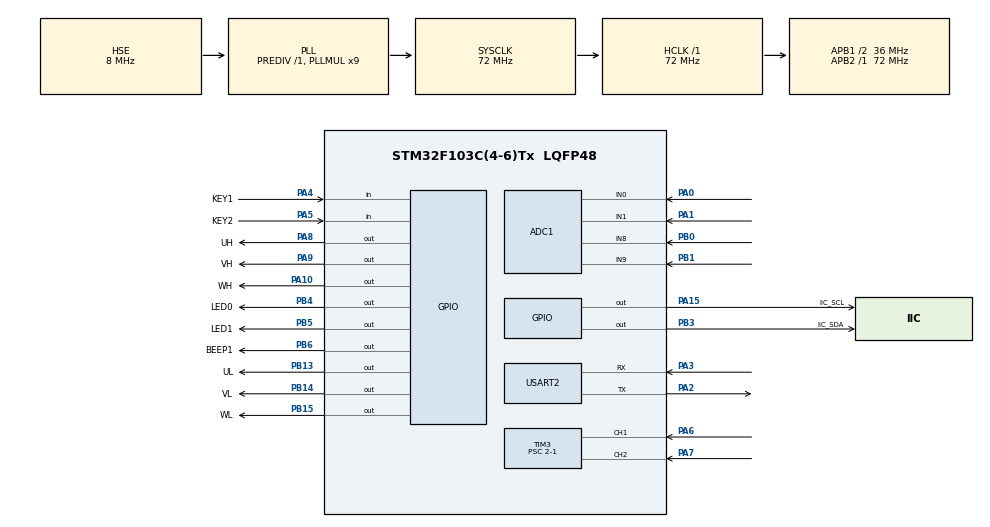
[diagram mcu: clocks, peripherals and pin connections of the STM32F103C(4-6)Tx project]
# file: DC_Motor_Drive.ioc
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ADC1.Channel-0\#ChannelRegularConversion=ADC_CHANNEL_0
ADC1.Channel-1\#ChannelRegularConversion=ADC_CHANNEL_1
ADC1.Channel-2\#ChannelRegularConversion=ADC_CHANNEL_8
ADC1.Channel-3\#ChannelRegularConversion=ADC_CHANNEL_9
ADC1.DataAlign=ADC_DATAALIGN_RIGHT
ADC1.DiscontinuousConvMode=ENABLE
ADC1.NbrOfConversion=4
ADC1.NbrOfConversionFlag=1
ADC1.Rank-0\#ChannelRegularConversion=1
ADC1.Rank-1\#ChannelRegularConversion=2
ADC1.Rank-2\#ChannelRegularConversion=3
ADC1.Rank-3\#ChannelRegularConversion=4
ADC1.SamplingTime-0\#ChannelRegularConversion=ADC_SAMPLETIME_1CYCLE_5
ADC1.SamplingTime-1\#ChannelRegularConversion=ADC_SAMPLETIME_1CYCLE_5
ADC1.SamplingTime-2\#ChannelRegularConversion=ADC_SAMPLETIME_1CYCLE_5
ADC1.SamplingTime-3\#ChannelRegularConversion=ADC_SAMPLETIME_1CYCLE_5
ADC1.master=1
IWDG.Prescaler=IWDG_PRESCALER_64
Mcu.Family=STM32F1
Mcu.Name=STM32F103C(4-6)Tx
Mcu.Package=LQFP48
NVIC.PriorityGroup=NVIC_PRIORITYGROUP_4
NVIC.TIM2_IRQn=true\:0\:0\:false\:false\:true\:true\:true\:true
NVIC.TIM3_IRQn=true\:5\:0\:true\:false\:true\:true\:true\:true
NVIC.USART2_IRQn=true\:4\:0\:true\:false\:true\:true\:true\:true
PA0-WKUP.Signal=ADCx_IN0
PA1.Signal=ADCx_IN1
PA10.GPIO_Label=WH
PA10.PinState=GPIO_PIN_SET
PA10.Signal=GPIO_Output
PA13.Mode=Serial_Wire
PA13.Signal=SYS_JTMS-SWDIO
PA14.Mode=Serial_Wire
PA14.Signal=SYS_JTCK-SWCLK
PA15.GPIO_Label=IIC_SCL
PA15.PinState=GPIO_PIN_SET
PA15.Signal=GPIO_Output
PA2.Mode=Asynchronous
PA2.Signal=USART2_TX
PA3.Mode=Asynchronous
PA3.Signal=USART2_RX
PA4.GPIO_Label=KEY1
PA4.GPIO_PuPd=GPIO_NOPULL
PA4.Signal=GPIO_Input
PA5.GPIO_Label=KEY2
PA5.GPIO_PuPd=GPIO_NOPULL
PA5.Signal=GPIO_Input
PA6.Signal=S_TIM3_CH1
PA7.Signal=S_TIM3_CH2
PA8.GPIO_Label=UH
PA8.PinState=GPIO_PIN_SET
PA8.Signal=GPIO_Output
PA9.GPIO_Label=VH
PA9.PinState=GPIO_PIN_SET
PA9.Signal=GPIO_Output
PB0.Signal=ADCx_IN8
PB1.Signal=ADCx_IN9
PB13.GPIO_Label=UL
PB13.PinState=GPIO_PIN_SET
PB13.Signal=GPIO_Output
PB14.GPIO_Label=VL
PB14.PinState=GPIO_PIN_SET
PB14.Signal=GPIO_Output
PB15.GPIO_Label=WL
PB15.PinState=GPIO_PIN_SET
PB15.Signal=GPIO_Output
PB3.GPIO_Label=IIC_SDA
PB3.PinState=GPIO_PIN_SET
PB3.Signal=GPIO_Output
PB4.GPIO_Label=LED0
PB4.PinState=GPIO_PIN_SET
PB4.Signal=GPIO_Output
PB5.GPIO_Label=LED1
PB5.PinState=GPIO_PIN_SET
PB5.Signal=GPIO_Output
PB6.GPIO_Label=BEEP1
PB6.PinState=GPIO_PIN_SET
PB6.Signal=GPIO_Output
PD0-OSC_IN.Mode=HSE-External-Oscillator
PD0-OSC_IN.Signal=RCC_OSC_IN
PD1-OSC_OUT.Mode=HSE-External-Oscillator
PD1-OSC_OUT.Signal=RCC_OSC_OUT
ProjectManager.HeapSize=0x200
ProjectManager.StackSize=0x400
ProjectManager.TargetToolchain=MDK-ARM V5.32
RCC.ADCPresc=RCC_ADCPCLK2_DIV6
RCC.AHBFreq_Value=72000000
RCC.APB1CLKDivider=RCC_HCLK_DIV2
RCC.APB1Freq_Value=36000000
RCC.APB1TimFreq_Value=72000000
RCC.APB2Freq_Value=72000000
RCC.APB2TimFreq_Value=72000000
RCC.HCLKFreq_Value=72000000
RCC.PLLMUL=RCC_PLL_MUL9
RCC.PLLSourceVirtual=RCC_PLLSOURCE_HSE
RCC.SYSCLKFreq_VALUE=72000000
RCC.SYSCLKSource=RCC_SYSCLKSOURCE_PLLCLK
RCC.USBFreq_Value=72000000
SH.ADCx_IN0.0=ADC1_IN0,IN0
SH.ADCx_IN1.0=ADC1_IN1,IN1
SH.ADCx_IN8.0=ADC1_IN8,IN8
SH.ADCx_IN9.0=ADC1_IN9,IN9
SH.S_TIM3_CH1.0=TIM3_CH1,Encoder_Interface
SH.S_TIM3_CH2.0=TIM3_CH2,Encoder_Interface
TIM1.AutoReloadPreload=TIM_AUTORELOAD_PRELOAD_ENABLE
TIM1.Period=69
TIM1.Prescaler=63
TIM2.AutoReloadPreload=TIM_AUTORELOAD_PRELOAD_ENABLE
TIM2.Period=1000-1
TIM2.Prescaler=72-1
TIM3.AutoReloadPreload=TIM_AUTORELOAD_PRELOAD_ENABLE
TIM3.ClockDivision=TIM_CLOCKDIVISION_DIV1
TIM3.CounterMode=TIM_COUNTERMODE_UP
TIM3.EncoderMode=TIM_ENCODERMODE_TI12
TIM3.IC1Filter=15
TIM3.IC1Polarity=TIM_ICPOLARITY_RISING
TIM3.IC1Prescaler=TIM_ICPSC_DIV2
TIM3.IC2Filter=15
TIM3.IC2Polarity=TIM_ICPOLARITY_RISING
TIM3.IC2Prescaler=TIM_ICPSC_DIV2
TIM3.Period=1
TIM3.Prescaler=2-1
USART2.VirtualMode=VM_ASYNC
VP_IWDG_VS_IWDG.Mode=IWDG_Activate
VP_TIM1_VS_ClockSourceINT.Mode=Internal
VP_TIM2_VS_ClockSourceINT.Mode=Internal
board=custom

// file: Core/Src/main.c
/* USER CODE BEGIN Header */
/**
  ******************************************************************************
  * @file           : main.c
  * @brief          : Main program body
  ******************************************************************************
  * @attention
  *
  * Copyright (c) 2023 STMicroelectronics.
  * All rights reserved.
  *
  * This software is licensed under terms that can be found in the LICENSE file
  * in the root directory of this software component.
  * If no LICENSE file comes with this software, it is provided AS-IS.
  *
  ******************************************************************************
  */
/* USER CODE END Header */
#include "main.h"
#include "adc.h"
#include "iwdg.h"
#include "tim.h"
#include "usart.h"
#include "gpio.h"

/* USER CODE BEGIN Includes */
//以下开始用户头文件，这里的头文件在MY文件夹内
#include "stdio.h"
#include "User_Scheduler.h"
#include "User_Function.h"
#include "IIC_OLED.h"
#include "key.h"
#include "bmp.h"
#include "Motor.h"
/* USER CODE END Includes */

/* USER CODE BEGIN PD */
#define VERSION      "A01.0D"//主版本号子版本号.修正版本号

/*---->
版本更新历史
A01.0D: 新增速度变量，实现编码器控制 2023/3/25 13:18
A01.0C: 多级菜单功能完成 2023/3/24 20:36
A01.0B: 编码器功能初步测试通过 2023/3/15 21:39
A01.0A: 调度器/OLED等外设测试通过 2023/3/15 20:49
A01.09: 新增按键扫描函数(待验证) 2023/3/14 14:08
A01.08: 新增ADC校准，规范代码(待验证) 2023/3/11 17:19
A01.07: 新增看门狗，溢出时间约6.5s(待验证) 2023/3/11 16:42
A01.06: 采集四个通道的ADC数据(待验证) 2023/3/11 16:30
A01.05: OLED移植成功(待验证) 2023/3/11 15:54
A01.04: 新增用户调度器(未验证) 2023/3/11 15:36
A01.03: 重写printf函数，修改至串口二 2023/3/11 15:19
A01.02: 宏定义管LED,BEEP外设管脚 2023/3/11 15:06
A01.01: 新建工程，初始化外设 2023/3/11 14:55
*/

/* USER CODE END PD */

/* USER CODE BEGIN PM */
volatile uint8_t SYS_TIME1S_FLAG = 0;//计数1s标志位
int8_t led_status;
/* USER CODE END PM */

void SystemClock_Config(void);

/* USER CODE BEGIN 0 */
/*-----------------------------------------*/
/*-----重定义printf函数--------------------*/
/*-----函数名：int fputc(int ch, FILE *f)--*/
/*-----------------------------------------*/
int fputc(int ch, FILE *f){
	uint8_t temp[1] = {ch};
	HAL_UART_Transmit(&huart2, temp, 1, 2);//huart2需要根据你的配置修改
	return ch;
}

/* USER CODE END 0 */

int main(void)
{

  /* MCU Configuration--------------------------------------------------------*/

  /* Reset of all peripherals, Initializes the Flash interface and the Systick. */
  HAL_Init();

  /* Configure the system clock */
  SystemClock_Config();

  /* Initialize all configured peripherals */
  MX_GPIO_Init();
  MX_TIM3_Init();
  MX_ADC1_Init();
  MX_TIM1_Init();
  MX_USART2_UART_Init();
  MX_IWDG_Init();
  MX_TIM2_Init();
  /* USER CODE BEGIN 2 */
	HAL_TIM_Base_Start_IT(&htim2);//开启定时器
  __HAL_TIM_CLEAR_IT(&htim3,TIM_IT_UPDATE);

	HAL_TIM_Encoder_Start(&htim3, TIM_CHANNEL_ALL);//启动计数
  __HAL_TIM_ENABLE_IT(&htim3,TIM_IT_UPDATE);

	HAL_ADCEx_Calibration_Start(&hadc1); //ADC校准

	BEEP_OFF;
	OLED_Init();			//OLED初始化
	OLED_CLS();				//OLED清屏
	//OLED_ShowStr(16,4,(unsigned char*)"SYS init succeeded      ",1);
	OLED_DrawBMP(0,0,128,8,BMP0);
	user_main_info("System initialization succeeded！");
	//MX_IWDG_Init();

	//HAL_TIM_PWM_Start(&htim1,TIM_CHANNEL_1);
  //HAL_TIMEx_PWMN_Start(&htim1,TIM_CHANNEL_1);
  //HAL_TIM_PWM_Start(&htim1,TIM_CHANNEL_2);
  //HAL_TIMEx_PWMN_Start(&htim1,TIM_CHANNEL_2);

	//TIM1->CCR1 = 50;//50%的占空比
	//HAL_TIM_PWM_Start(&htim1,TIM_CHANNEL_1);//V相正波
	/*
				HAL_TIM_PWM_Stop(&htim1,TIM_CHANNEL_1);//U相不发波
			HAL_TIMEx_PWMN_Stop(&htim1,TIM_CHANNEL_1);

			TIM1->CCR2 = 50;//50%的占空比
			HAL_TIM_PWM_Start(&htim1,TIM_CHANNEL_2);//V相正波

			TIM1->CCR3 = 50;//50%的占空比
			HAL_TIMEx_PWMN_Start(&htim1,TIM_CHANNEL_3);//V相正波
			*/

	//MX_IWDG_Init();
	//LED0_ON;

	/*开始控制电机*/
	//Motor_Stop();
	//ROTOR_Pre_positioning(1);
	//Motor_Start(1);

  /* USER CODE END 2 */

  /* Infinite loop */
  while (1)
  {

    /* USER CODE BEGIN 3 */
		Schedule();						/*调度器*/
		FuncRun(&tSysScanFlag);/*功能运行*/
		//Motor_Run(1);

  }
  /* USER CODE END 3 */
}

void SystemClock_Config(void)
{
  RCC_OscInitTypeDef RCC_OscInitStruct = {0};
  RCC_ClkInitTypeDef RCC_ClkInitStruct = {0};
  RCC_PeriphCLKInitTypeDef PeriphClkInit = {0};

  /** Initializes the RCC Oscillators according to the specified parameters
  * in the RCC_OscInitTypeDef structure.
  */
  RCC_OscInitStruct.OscillatorType = RCC_OSCILLATORTYPE_LSI|RCC_OSCILLATORTYPE_HSE;
  RCC_OscInitStruct.HSEState = RCC_HSE_ON;
  RCC_OscInitStruct.HSEPredivValue = RCC_HSE_PREDIV_DIV1;
  RCC_OscInitStruct.HSIState = RCC_HSI_ON;
  RCC_OscInitStruct.LSIState = RCC_LSI_ON;
  RCC_OscInitStruct.PLL.PLLState = RCC_PLL_ON;
  RCC_OscInitStruct.PLL.PLLSource = RCC_PLLSOURCE_HSE;
  RCC_OscInitStruct.PLL.PLLMUL = RCC_PLL_MUL9;
  if (HAL_RCC_OscConfig(&RCC_OscInitStruct) != HAL_OK)
  {
    Error_Handler();
  }

  /** Initializes the CPU, AHB and APB buses clocks
  */
  RCC_ClkInitStruct.ClockType = RCC_CLOCKTYPE_HCLK|RCC_CLOCKTYPE_SYSCLK
                              |RCC_CLOCKTYPE_PCLK1|RCC_CLOCKTYPE_PCLK2;
  RCC_ClkInitStruct.SYSCLKSource = RCC_SYSCLKSOURCE_PLLCLK;
  RCC_ClkInitStruct.AHBCLKDivider = RCC_SYSCLK_DIV1;
  RCC_ClkInitStruct.APB1CLKDivider = RCC_HCLK_DIV2;
  RCC_ClkInitStruct.APB2CLKDivider = RCC_HCLK_DIV1;

  if (HAL_RCC_ClockConfig(&RCC_ClkInitStruct, FLASH_LATENCY_2) != HAL_OK)
  {
    Error_Handler();
  }
  PeriphClkInit.PeriphClockSelection = RCC_PERIPHCLK_ADC;
  PeriphClkInit.AdcClockSelection = RCC_ADCPCLK2_DIV6;
  if (HAL_RCCEx_PeriphCLKConfig(&PeriphClkInit) != HAL_OK)
  {
    Error_Handler();
  }
}

/* USER CODE BEGIN 4 */
/*下面开始子函数*/
/*中断服务函数*/
void HAL_TIM_PeriodElapsedCallback(TIM_HandleTypeDef *htim)
	{
			if (htim->Instance == htim2.Instance) {//定时器2中断,这里1ms中断一次
					SYS_TIME1S_FLAG=1;
	    }
      if (htim->Instance == htim3.Instance)//外部中断3来源于编码器
      {

        if( ((int)(__HAL_TIM_IS_TIM_COUNTING_DOWN(&htim3)))== 0)//反向旋转
        {
          KEY_Value = 4;
        }else//正向旋转
        {
          KEY_Value = 3;
        }
        //user_main_info("编码器%d",KEY_Value);
      }

}

/* USER CODE END 4 */

void Error_Handler(void)
{
  __disable_irq();
  while (1)
  {
  }
}
